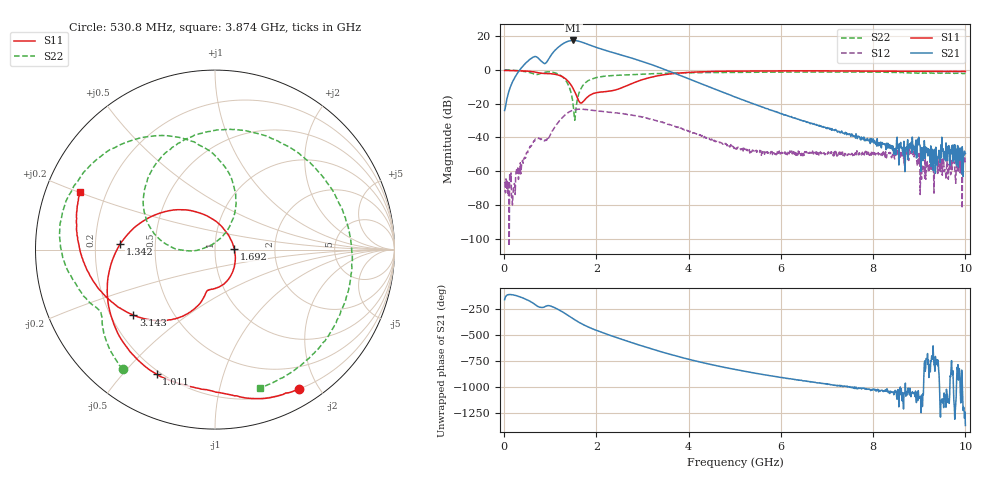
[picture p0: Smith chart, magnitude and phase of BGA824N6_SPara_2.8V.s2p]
!Product: BGA824N6
!Optimize for 1550 - 1615 MHz
!Port Description: Port1: RFIN / Port2: RFOUT
!VDD = 2.8V
!PON = 2.8V
!Keysight Technologies,N5247B
!12/27/2021 12:10:56 PM
# Hz S dB R 50
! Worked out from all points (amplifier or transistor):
!   999 points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, 10.31 MHz to 10 GHz, reference 50 ohm
!   highest |S21| = 17.4 dB at 1.502 GHz (marker M1)
!   |S21| within 3 dB of that: 1.221 GHz to 1.886 GHz (665.4 MHz wide, 42.8 % of centre)
!   unconditionally stable (mu >= 1): start of sweep to end of sweep
!   at 1.672 GHz: K = 1.22, MAG = 17.1 dB, |S12| = -23.3 dB
!   at 5.005 GHz: K = 31.17, MAG = -2.8 dB, |S12| = -46.3 dB
!   at 10 GHz: K = 6124.90, MAG = -38.6 dB, |S12| = -54.1 dB
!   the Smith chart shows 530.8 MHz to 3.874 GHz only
!   S11 on the Smith chart (normalised r, x): 530.8 MHz: 0.20, -1.75; 1.011 GHz: 0.18, -0.62; 1.342 GHz: 0.31, +0.03; 1.692 GHz: 1.24, +0.01; 3.143 GHz: 0.29, -0.32; 3.874 GHz: 0.10, +0.20
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1.030971e7  -0.42 -1.0  -24.05 -158.9  -66.29 -80.7  -0.00 -2.7
2.004942e8  -0.47 -21.8  -6.16 -113.8  -70.28 -159.1  -0.22 -53.5
5.308146e8  -0.86 -58.9  5.57 -167.2  -47.34 127.4  -1.51 -127.6
7.209991e8  -1.68 -81.5  7.32 138.6  -40.49 81.2  -2.74 -152.8
8.511253e8  -2.14 -94.5  4.14 127.7  -41.57 66.7  -1.77 -169.7
1.011281e9  -2.30 -115.1  8.48 139.4  -37.80 84.3  -1.28 157.8
1.171436e9  -3.09 -143.4  13.30 107.3  -31.14 60.3  -2.52 123.5
1.341601e9  -5.53 176.5  16.40 63.2  -26.21 22.2  -6.52 84.0
1.501756e9  -11.37 125.1  17.36 16.7  -23.75 -19.3  -21.91 60.9
1.581834e9  -16.12 87.1  17.13 -5.4  -23.34 -39.6  -18.21 -176.5
1.681931e9  -19.59 9.9  16.39 -30.5  -23.29 -62.5  -10.28 170.3
1.691941e9  -19.36 2.7  16.29 -32.8  -23.30 -64.5  -9.87 168.7
1.912155e9  -14.26 -72.8  14.10 -77.7  -23.91 -104.7  -5.30 133.8
2.282514e9  -12.65 -100.6  10.80 -138.6  -25.15 -159.2  -3.52 89.1
2.722941e9  -8.67 -111.1  7.30 155.7  -26.64 142.7  -2.94 45.4
3.143349e9  -4.68 -141.3  3.59 95.9  -29.05 89.2  -2.41 4.5
3.343543e9  -3.47 -158.6  1.59 68.8  -30.26 65.9  -2.22 -15.6
3.874058e9  -1.75 156.8  -3.94 4.0  -35.25 11.9  -1.82 -71.9
5.015165e9  -0.76 73.8  -16.13 -108.5  -46.76 -54.7  -1.52 172.2
6.676776e9  -0.62 -35.0  -31.64 133.3  -49.57 -121.1  -1.30 44.5
8.338388e9  -0.81 -150.7  -45.04 38.8  -49.08 139.8  -1.52 -58.3
1e10  -0.95 83.3  -49.54 75.2  -54.09 -129.2  -2.30 -165.0
